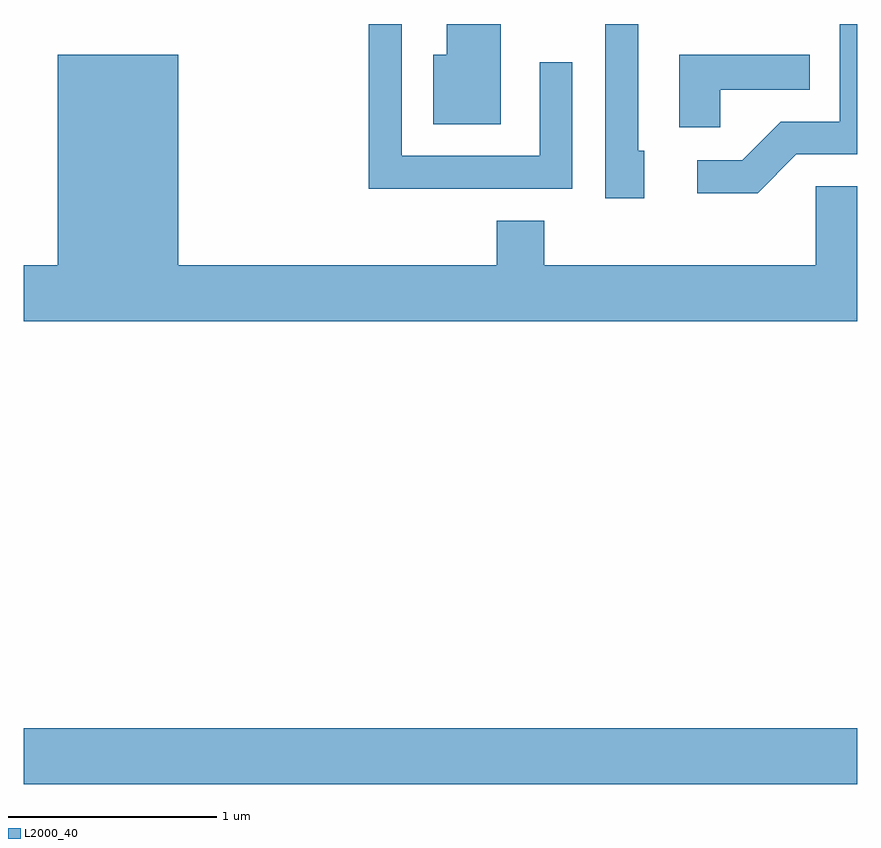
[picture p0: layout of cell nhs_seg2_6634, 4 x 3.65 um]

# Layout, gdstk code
import gdstk
lib = gdstk.Library(unit=1e-6, precision=1e-09)
def R(c, l, rs):  # rectangles x0, y0, x1, y1
    for r in rs: c.add(gdstk.rectangle(r[:2], r[2:], *l))
def P(c, l, *ps):  # polygons
    for p in ps: c.add(gdstk.Polygon(p, *l))
L2000_40 = (2000, 40)

nhs_seg2_6634 = lib.new_cell('nhs_seg2_6634')
R(nhs_seg2_6634, L2000_40, [(381.611,986.156,385.611,986.424)])
P(nhs_seg2_6634, L2000_40, [(383.899,989.802),(383.641,989.802),(383.641,989.654),(383.576,989.654),(383.576,989.321),(383.899,989.321)],
  [(384.589,989.194),(384.559,989.194),(384.559,989.802),(384.401,989.802),(384.401,988.966),(384.589,988.966)],
  [(384.244,989.618),(384.086,989.618),(384.086,989.169),(383.424,989.169),(383.424,989.802),(383.266,989.802),(383.266,989.011),(384.244,989.011)],
  [(385.317,989.176),(385.611,989.176),(385.611,989.802),(385.526,989.802),(385.526,989.334),(385.244,989.334),(385.059,989.149),(384.843,989.149),(384.843,988.991),(385.132,988.991)],
  [(385.611,989.024),(385.411,989.024),(385.411,988.644),(384.109,988.644),(384.109,988.859),(383.881,988.859),(383.881,988.644),(382.354,988.644),(382.354,989.654),(381.776,989.654),(381.776,988.644),(381.611,988.644),(381.611,988.376),(385.611,988.376)],
  [(384.954,989.486),(385.383,989.486),(385.383,989.654),(384.756,989.654),(384.756,989.306),(384.954,989.306)])

lib.write_gds('nhs_seg2_6634.gds')
